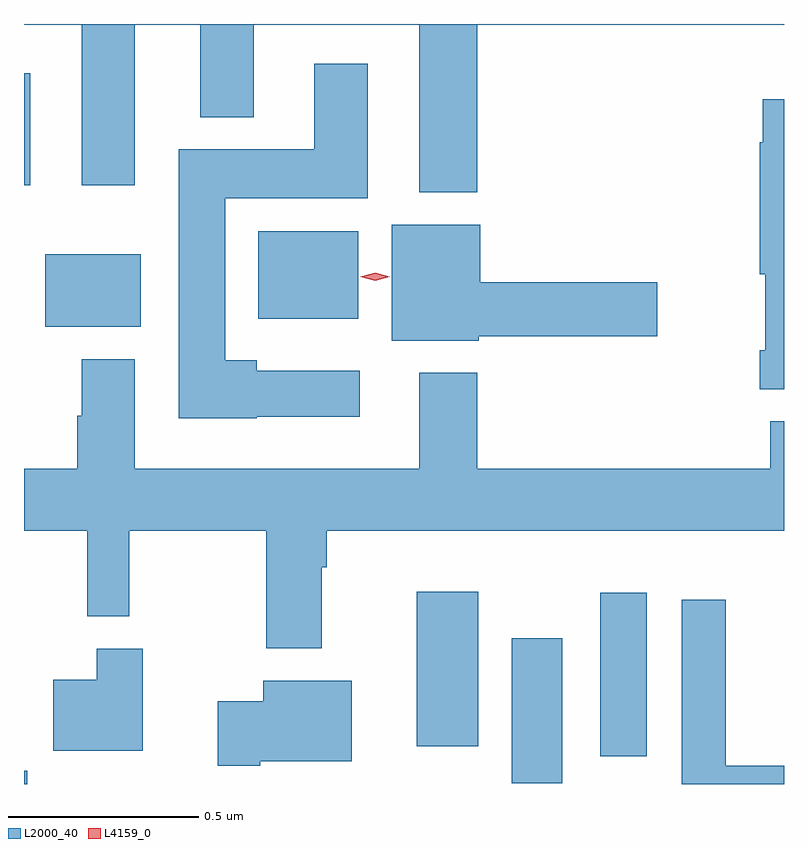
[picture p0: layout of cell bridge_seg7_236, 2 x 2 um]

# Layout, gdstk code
import gdstk
lib = gdstk.Library(unit=1e-6, precision=1e-09)
def R(c, l, rs):  # rectangles x0, y0, x1, y1
    for r in rs: c.add(gdstk.rectangle(r[:2], r[2:], *l))
def P(c, l, *ps):  # polygons
    for p in ps: c.add(gdstk.Polygon(p, *l))
L2000_40 = (2000, 40)
L4159_0 = (4159, 0)

bridge_seg7_236 = lib.new_cell('bridge_seg7_236')
R(bridge_seg7_236, L2000_40, [(279.951,1063.886,279.959,1063.921), (281.234,1063.888,281.368,1064.269), (281.468,1063.959,281.59,1064.389), (280.985,1063.986,281.146,1064.392), (280.007,1065.089,280.258,1065.28), (280.568,1065.11,280.831,1065.34), (279.951,1065.462,279.967,1065.757)])
P(bridge_seg7_236, L2000_40, [(281.144,1065.884),(281.951,1065.884),(281.951,1065.886),(279.951,1065.886),(279.951,1065.884),(280.103,1065.884),(280.103,1065.462),(280.243,1065.462),(280.243,1065.884),(280.415,1065.884),(280.415,1065.641),(280.555,1065.641),(280.555,1065.884),(280.991,1065.884),(280.991,1065.443),(281.144,1065.443)],
  [(280.563,1064.852),(280.834,1064.852),(280.834,1064.974),(280.563,1064.974),(280.563,1065.001),(280.48,1065.001),(280.48,1065.428),(280.855,1065.428),(280.855,1065.781),(280.715,1065.781),(280.715,1065.556),(280.358,1065.556),(280.358,1064.849),(280.563,1064.849)],
  [(281.951,1065.688),(281.895,1065.688),(281.895,1065.575),(281.887,1065.575),(281.887,1065.228),(281.902,1065.228),(281.902,1065.028),(281.887,1065.028),(281.887,1064.925),(281.951,1064.925)],
  [(281.148,1065.064),(281.617,1065.064),(281.617,1065.206),(281.152,1065.206),(281.152,1065.358),(280.919,1065.358),(280.919,1065.053),(281.148,1065.053)],
  [(280.735,1064.456),(280.748,1064.456),(280.748,1064.552),(281.951,1064.552),(281.951,1064.84),(281.915,1064.84),(281.915,1064.716),(281.144,1064.716),(281.144,1064.968),(280.991,1064.968),(280.991,1064.716),(280.243,1064.716),(280.243,1065.004),(280.103,1065.004),(280.103,1064.855),(280.091,1064.855),(280.091,1064.716),(279.951,1064.716),(279.951,1064.552),(280.118,1064.552),(280.118,1064.327),(280.228,1064.327),(280.228,1064.552),(280.588,1064.552),(280.588,1064.243),(280.735,1064.243)],
  [(281.951,1063.934),(281.798,1063.934),(281.798,1064.371),(281.682,1064.371),(281.682,1063.886),(281.951,1063.886)],
  [(280.264,1064.242),(280.142,1064.242),(280.142,1064.161),(280.028,1064.161),(280.028,1063.973),(280.264,1063.973)],
  [(280.573,1063.946),(280.813,1063.946),(280.813,1064.158),(280.58,1064.158),(280.58,1064.104),(280.461,1064.104),(280.461,1063.934),(280.573,1063.934)])
P(bridge_seg7_236, L4159_0, [(280.875,1065.211),(280.836,1065.221),(280.836,1065.221),(280.836,1065.221),(280.875,1065.231),(280.913,1065.221),(280.913,1065.221),(280.913,1065.221)])

lib.write_gds('bridge_seg7_236.gds')
